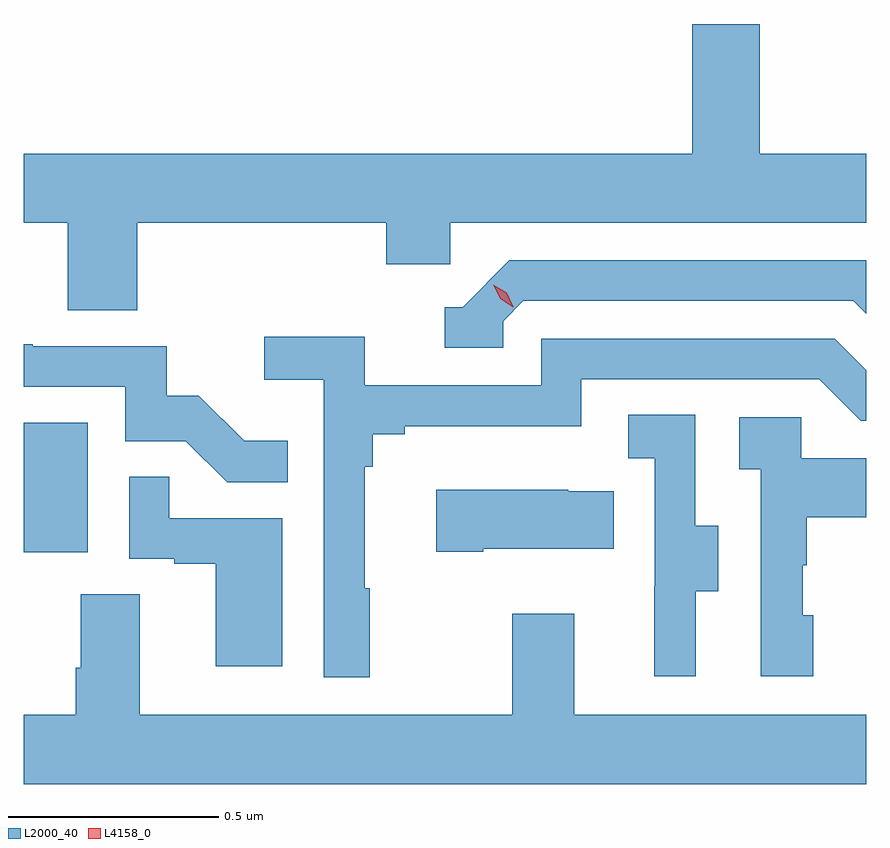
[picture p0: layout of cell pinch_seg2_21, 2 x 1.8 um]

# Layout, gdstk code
import gdstk
lib = gdstk.Library(unit=1e-6, precision=1e-09)
def R(c, l, rs):  # rectangles x0, y0, x1, y1
    for r in rs: c.add(gdstk.rectangle(r[:2], r[2:], *l))
def P(c, l, *ps):  # polygons
    for p in ps: c.add(gdstk.Polygon(p, *l))
L2000_40 = (2000, 40)
L4158_0 = (4158, 0)

pinch_seg2_21 = lib.new_cell('pinch_seg2_21')
R(pinch_seg2_21, L2000_40, [(1097.51,654.846,1097.662,655.153)])
P(pinch_seg2_21, L2000_40, [(1097.78,655.628),(1098.371,655.628),(1098.371,655.53),(1098.522,655.53),(1098.522,655.628),(1099.51,655.628),(1099.51,655.792),(1099.257,655.792),(1099.257,656.1),(1099.097,656.1),(1099.097,655.792),(1097.51,655.792),(1097.51,655.628),(1097.615,655.628),(1097.615,655.42),(1097.78,655.42)],
  [(1098.648,655.395),(1098.696,655.443),(1099.479,655.443),(1099.51,655.412),(1099.51,655.539),(1098.663,655.539),(1098.552,655.428),(1098.509,655.428),(1098.509,655.332),(1098.648,655.332)],
  [(1098.331,654.761),(1098.319,654.761),(1098.319,655.049),(1098.338,655.049),(1098.338,655.126),(1098.415,655.126),(1098.415,655.145),(1098.834,655.145),(1098.834,655.257),(1099.398,655.257),(1099.497,655.158),(1099.51,655.158),(1099.51,655.278),(1099.435,655.353),(1098.738,655.353),(1098.738,655.242),(1098.32,655.242),(1098.32,655.358),(1098.081,655.358),(1098.081,655.256),(1098.222,655.256),(1098.222,654.549),(1098.331,654.549)],
  [(1098.137,655.111),(1098.033,655.111),(1097.926,655.218),(1097.85,655.218),(1097.85,655.335),(1097.531,655.335),(1097.531,655.34),(1097.51,655.34),(1097.51,655.239),(1097.751,655.239),(1097.751,655.11),(1097.895,655.11),(1097.993,655.012),(1098.137,655.012)],
  [(1099.105,654.754),(1099.159,654.754),(1099.159,654.909),(1099.104,654.909),(1099.104,655.172),(1098.945,655.172),(1098.945,655.069),(1099.008,655.069),(1099.008,654.765),(1099.007,654.765),(1099.007,654.552),(1099.105,654.552)],
  [(1099.384,654.696),(1099.359,654.696),(1099.359,654.815),(1099.369,654.815),(1099.369,654.929),(1099.51,654.929),(1099.51,655.069),(1099.356,655.069),(1099.356,655.167),(1099.209,655.167),(1099.209,655.043),(1099.26,655.043),(1099.26,654.552),(1099.384,654.552)],
  [(1098.124,654.927),(1097.855,654.927),(1097.855,655.025),(1097.76,655.025),(1097.76,654.831),(1097.867,654.831),(1097.867,654.819),(1097.966,654.819),(1097.966,654.576),(1098.124,654.576)],
  [(1098.601,654.854),(1098.911,654.854),(1098.911,654.991),(1098.803,654.991),(1098.803,654.994),(1098.489,654.994),(1098.489,654.847),(1098.601,654.847)],
  [(1099.51,654.46),(1098.817,654.46),(1098.817,654.7),(1098.67,654.7),(1098.67,654.46),(1097.785,654.46),(1097.785,654.746),(1097.645,654.746),(1097.645,654.572),(1097.633,654.572),(1097.633,654.46),(1097.51,654.46),(1097.51,654.296),(1099.51,654.296)])
P(pinch_seg2_21, L4158_0, [(1098.672,655.428),(1098.641,655.448),(1098.625,655.481),(1098.625,655.481),(1098.625,655.481),(1098.656,655.462),(1098.672,655.429),(1098.672,655.428)])

lib.write_gds('pinch_seg2_21.gds')
